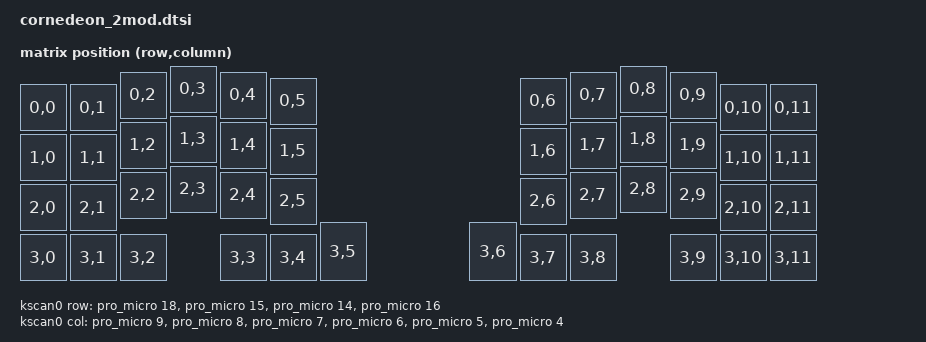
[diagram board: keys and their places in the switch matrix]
/*
 * Copyright (c) 2020 Pete Johanson
 *
 * SPDX-License-Identifier: MIT
 */

#include <dt-bindings/zmk/matrix_transform.h>
#include <physical_layouts.dtsi>
#include <input/processors.dtsi>


/ {
    chosen {
        zmk,kscan = &kscan0;
        zmk,physical-layout = &default_layout;
    };

    kscan0: kscan {
        compatible = "zmk,kscan-gpio-matrix";
        wakeup-source;
        diode-direction = "col2row";

        row-gpios
            = <&pro_micro 18 (GPIO_ACTIVE_HIGH | GPIO_PULL_DOWN)>
            , <&pro_micro 15 (GPIO_ACTIVE_HIGH | GPIO_PULL_DOWN)>
            , <&pro_micro 14 (GPIO_ACTIVE_HIGH | GPIO_PULL_DOWN)>
            , <&pro_micro 16 (GPIO_ACTIVE_HIGH | GPIO_PULL_DOWN)>
            ;

        col-gpios
            = <&pro_micro 9 GPIO_ACTIVE_HIGH>
            , <&pro_micro 8 GPIO_ACTIVE_HIGH>
            , <&pro_micro 7 GPIO_ACTIVE_HIGH>
            , <&pro_micro 6 GPIO_ACTIVE_HIGH>
            , <&pro_micro 5 GPIO_ACTIVE_HIGH>
            , <&pro_micro 4 GPIO_ACTIVE_HIGH>
            ;
    };

    default_layout: default_layout {
        compatible = "zmk,physical-layout";
        display-name = "6x4";
        transform = <&default_transform>;
        keys  //                     w   h    x    y     rot    rx    ry
            = <&key_physical_attrs 100 100    0   37       0     0     0>
            , <&key_physical_attrs 100 100  100   37       0     0     0>
            , <&key_physical_attrs 100 100  200   12       0     0     0>
            , <&key_physical_attrs 100 100  300    0       0     0     0>
            , <&key_physical_attrs 100 100  400   12       0     0     0>
            , <&key_physical_attrs 100 100  500   24       0     0     0>

            , <&key_physical_attrs 100 100 1000   24       0     0     0>
            , <&key_physical_attrs 100 100 1100   12       0     0     0>
            , <&key_physical_attrs 100 100 1200    0       0     0     0>
            , <&key_physical_attrs 100 100 1300   12       0     0     0>
            , <&key_physical_attrs 100 100 1400   37       0     0     0>
            , <&key_physical_attrs 100 100 1500   37       0     0     0>

            , <&key_physical_attrs 100 100    0  137       0     0     0>
            , <&key_physical_attrs 100 100  100  137       0     0     0>
            , <&key_physical_attrs 100 100  200  112       0     0     0>
            , <&key_physical_attrs 100 100  300  100       0     0     0>
            , <&key_physical_attrs 100 100  400  112       0     0     0>
            , <&key_physical_attrs 100 100  500  124       0     0     0>
            
            , <&key_physical_attrs 100 100 1000  124       0     0     0>
            , <&key_physical_attrs 100 100 1100  112       0     0     0>
            , <&key_physical_attrs 100 100 1200  100       0     0     0>
            , <&key_physical_attrs 100 100 1300  112       0     0     0>
            , <&key_physical_attrs 100 100 1400  137       0     0     0>
            , <&key_physical_attrs 100 100 1500  137       0     0     0>

            , <&key_physical_attrs 100 100    0  237       0     0     0>
            , <&key_physical_attrs 100 100  100  237       0     0     0>
            , <&key_physical_attrs 100 100  200  212       0     0     0>
            , <&key_physical_attrs 100 100  300  200       0     0     0>
            , <&key_physical_attrs 100 100  400  212       0     0     0>
            , <&key_physical_attrs 100 100  500  224       0     0     0>

            , <&key_physical_attrs 100 100 1000  224       0     0     0>
            , <&key_physical_attrs 100 100 1100  212       0     0     0>
            , <&key_physical_attrs 100 100 1200  200       0     0     0>
            , <&key_physical_attrs 100 100 1300  212       0     0     0>
            , <&key_physical_attrs 100 100 1400  237       0     0     0>
            , <&key_physical_attrs 100 100 1500  237       0     0     0>

            , <&key_physical_attrs 100 100    0  337       0     0     0>
            , <&key_physical_attrs 100 100  100  337       0     0     0>
            , <&key_physical_attrs 100 100  200  337       0     0     0>
            , <&key_physical_attrs 100 100  400  337       0     0     0>
            , <&key_physical_attrs 100 100  500  337       0     0     0>
            , <&key_physical_attrs 100 125  600  312       0     0     0>

            , <&key_physical_attrs 100 125  900  312       0     0     0>
            , <&key_physical_attrs 100 100 1000  337       0     0     0>
            , <&key_physical_attrs 100 100 1100  337       0     0     0>
            , <&key_physical_attrs 100 100 1300  337       0     0     0>
            , <&key_physical_attrs 100 100 1400  337       0     0     0>
            , <&key_physical_attrs 100 100 1500  337       0     0     0>
        ;
    };

    default_transform: keymap_transform_0 {
        compatible = "zmk,matrix-transform";
        columns = <12>;
        rows = <4>;
        map = <
RC(0,0) RC(0,1) RC(0,2) RC(0,3) RC(0,4) RC(0,5)  RC(0,6) RC(0,7) RC(0,8) RC(0,9) RC(0,10) RC(0,11)
RC(1,0) RC(1,1) RC(1,2) RC(1,3) RC(1,4) RC(1,5)  RC(1,6) RC(1,7) RC(1,8) RC(1,9) RC(1,10) RC(1,11)
RC(2,0) RC(2,1) RC(2,2) RC(2,3) RC(2,4) RC(2,5)  RC(2,6) RC(2,7) RC(2,8) RC(2,9) RC(2,10) RC(2,11)
RC(3,0) RC(3,1) RC(3,2) RC(3,3) RC(3,4) RC(3,5)  RC(3,6) RC(3,7) RC(3,8) RC(3,9) RC(3,10) RC(3,11)
        >;
    };

};

/{
    split_inputs {
        #address-cells = <1>;
        #size-cells = <0>;

        analog_input_split: analog_input@0 {
            compatible = "zmk,input-split";
            reg = <0>;
            status = "okay";
        };

        glidepoint_split: glidepoint@0 {
            compatible = "zmk,input-split";
            reg = <1>;
            status = "okay";
        };
    };

    analog_input_listener: analog_input_listener {
        compatible = "zmk,input-listener";
        status = "disabled";
        device = <&analog_input_split>;
        input-processors = <&zip_xy_to_scroll_mapper>;
    };

    glidepoint_listener: glidepoint_listener {
        compatible = "zmk,input-listener";
        status = "disabled";
        device = <&glidepoint_split>;
    };
};
